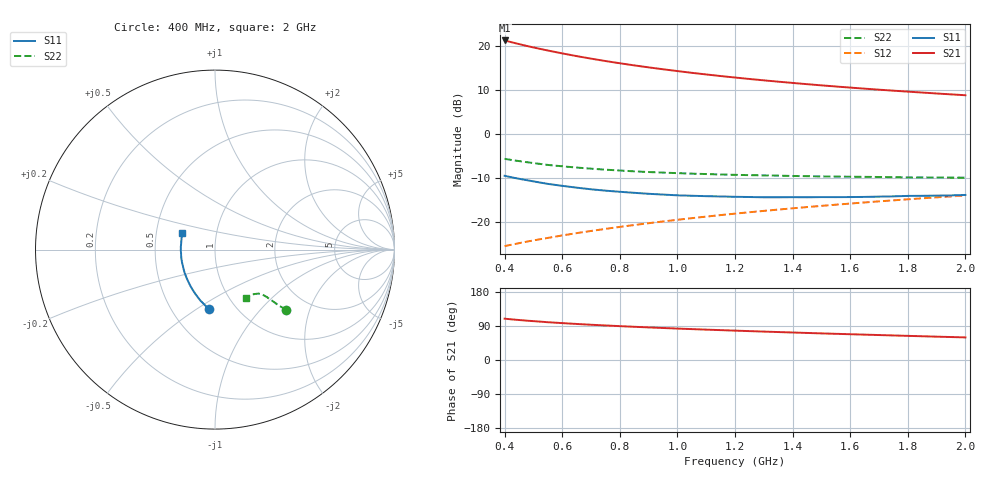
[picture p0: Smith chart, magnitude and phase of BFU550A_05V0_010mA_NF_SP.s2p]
! Filename:  P:\Prog\Test\Noise\ATS_data\Testdata_Net\06 Compressed Noise after Statistics\BFU550A_APG2013_35_C05_05p0V_010mA_NF_CM01_D.sf
! Date/Time: Tue 16/Apr/2013 15:11:29
! BFU550A_APG2013_35_C05_05p0V_1to35mA_NF_CM01_Bias5_R.sf
! Noise Parameter Data File
! BFU550A_APG2013_35_C05_05p0V_1to35mA_SP_CM01
! Date/time: Mon Apr 15 16:43:38 2013
! VAR V_out= 5.000000
! VAR I_out= 10.000000
! VAR V_in= 0.829000
! VAR I_in= 0.106705
! Device data file deembeded for feedlines and parallel
! Original file: \06 Compressed Noise after Statistics\BFU550A_APG2013_35_C05_05p0V_010mA_NF_CM01_R.sf
! Feed-files: PR017V01_150413_Feed1.s2p, PR017V01_150413_Feed2.s2p
! Parallel-file: PR017V01_150413_Par.s2p
# MHz S MA R 50
!  Freq-MHz  S11-mag  S11-arg  S21-mag  S21-arg  S12-mag  S12-arg  S22-mag  S22-arg
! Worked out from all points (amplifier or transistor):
!   37 points, 400 MHz to 2 GHz, reference 50 ohm
!   highest |S21| = 21.2 dB at 400 MHz (marker M1)
!   |S21| within 3 dB of that: start of sweep to 605.4 MHz
!   unconditionally stable (mu >= 1): 1.332 GHz to end of sweep
!   at 500 MHz: K = 0.81, MSG = 21.9 dB, |S12| = -24.2 dB
!   at 1.1 GHz: K = 0.98, MSG = 16.1 dB, |S12| = -18.8 dB
!   at 2 GHz: K = 1.01, MAG = 10.9 dB, |S12| = -14.0 dB
!   lowest NFmin = 0.74 dB at 420 MHz
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400  0.3335 -95.4  11.45 109.0  0.05305 64.8  0.5194 -40.2
420  0.3231 -98.1  11.01 107.5  0.0548 64.9  0.5067 -40.5
440  0.313 -100.8  10.61 106.2  0.05652 65.0  0.4952 -40.7
460  0.3041 -103.1  10.22 104.9  0.05825 65.1  0.4847 -41.0
480  0.2964 -105.7  9.868 103.7  0.05996 65.2  0.4742 -41.2
500  0.2883 -108.0  9.535 102.5  0.06166 65.3  0.4654 -41.3
550  0.2701 -113.9  8.805 99.7  0.06582 65.7  0.4432 -41.6
600  0.2565 -119.0  8.164 97.3  0.07022 66.0  0.4274 -41.8
650  0.2447 -124.0  7.606 95.1  0.07457 66.3  0.4137 -42.1
700  0.2345 -128.8  7.119 93.0  0.07893 66.6  0.4018 -42.3
750  0.2263 -133.3  6.687 91.2  0.08331 66.9  0.3913 -42.5
800  0.2196 -137.5  6.31 89.4  0.08776 67.1  0.383 -42.8
850  0.2138 -142.0  5.97 87.6  0.09219 67.2  0.3745 -43.0
950  0.2042 -149.9  5.392 84.5  0.1012 67.5  0.3625 -43.8
1050  0.198 -157.1  4.914 81.5  0.1102 67.7  0.3529 -44.4
1150  0.1945 -164.0  4.519 78.8  0.1194 67.6  0.3449 -45.3
1200  0.1926 -167.3  4.346 77.5  0.124 67.6  0.3421 -45.9
1350  0.1902 -176.1  3.901 73.8  0.1379 67.2  0.3348 -47.6
1500  0.1912 175.4  3.542 70.2  0.152 66.8  0.328 -49.5
1600  0.1913 170.6  3.34 68.0  0.1615 66.4  0.3257 -51.0
1750  0.1948 163.7  3.083 64.8  0.1756 65.7  0.3216 -53.2
2000  0.2023 153.7  2.736 59.6  0.1993 64.3  0.3176 -57.5
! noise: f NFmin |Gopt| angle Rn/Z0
400  0.7935  0.04752  135.7  0.097
460  0.7701  0.07045  157.5  0.0856
600  0.8612  0.051  169.7  0.0962
800  0.8473  0.1077  174.6  0.0807
1000  0.8452  0.1138  178.3  0.0812
1200  0.8827  0.1322  -173.6  0.0834
1400  0.9473  0.1618  -165.8  0.0778
1600  0.9123  0.1954  -157.6  0.0775
1800  0.9553  0.2473  -152.7  0.0664
2000  0.9606  0.2658  -147.3  0.0704
